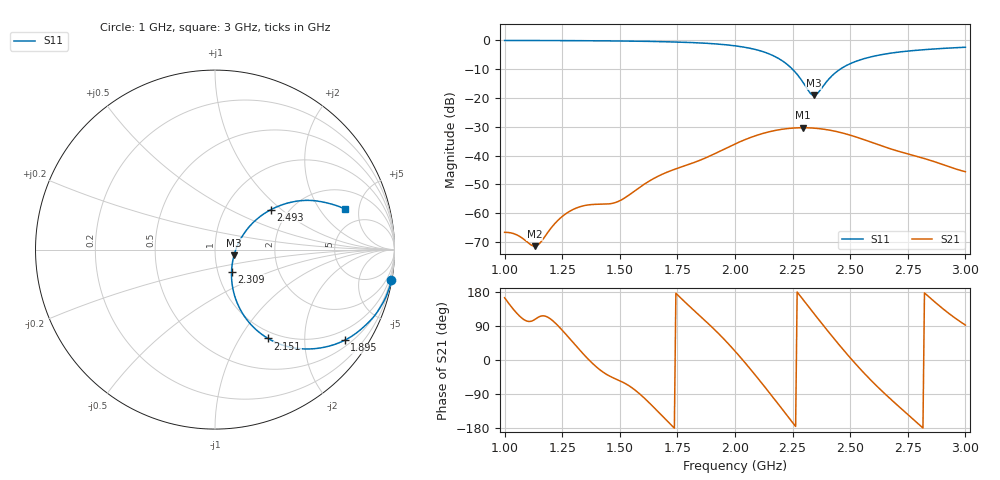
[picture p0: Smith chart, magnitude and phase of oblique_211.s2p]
! TOUCHSTONE file generated by CST MICROWAVE STUDIO
! Date and time: Tue Mar 18 00:03:07 2025
! Project name: oblique.cst
! Parameters = {Tilt=40; Fracture=1; B=12.5; D=160; F=25; Feed=2.85625; L=100; M=30; R=0.384908; S=2; Theta=90; length=57.125; wave=114.25}
! Header version: 2024
! Port assignment regex: !\s*Touchstone port\s*([0-9]+)\s*=\s*(CST MWS port|CST DES external port|CST DES block port)\s*(.+)\s* \(\"(.*)\"\)(\s*mode\s*([0-9]+))?.*
! Touchstone port assignment:
! Touchstone port 1 = CST MWS port 1 ("")
! Touchstone port 2 = CST MWS port 2 ("")
# GHz S DB R 50
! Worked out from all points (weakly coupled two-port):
!   305 points, 1 GHz to 3 GHz, reference 50 ohm
!   highest |S21| = -30.32 dB at 2.296 GHz (marker M1); lowest = -71.4 dB at 1.132 GHz (marker M2)
!   lowest |S11| = -19.1 dB at 2.342 GHz (marker M3), VSWR 1.25, Z = 61.7 - j3.93 ohm
!   |S11| at or under -10 dB: 2.249 GHz to 2.456 GHz (207 MHz wide, 8.8 % of centre)
!   S12 and S22 are empty: the file has one direction only
!   S11 on the Smith chart (normalised r, x): 1 GHz: 0, -12; 1.895 GHz: 0.67, -3.04; 2.151 GHz: 0.90, -1.33; 2.309 GHz: 1.16, -0.29; 2.493 GHz: 1.63, +0.85; 3 GHz: 3.38, +3.58
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1  -0.02 -9.8  -66.64 164.2  -200.00 0.0  -200.00 0.0
1.05263  -0.03 -10.5  -67.51 123.6  -200.00 0.0  -200.00 0.0
1.13158  -0.04 -11.7  -71.44 107.0  -200.00 0.0  -200.00 0.0
1.15132  -0.04 -12.0  -70.54 114.5  -200.00 0.0  -200.00 0.0
1.24342  -0.07 -13.5  -61.58 83.0  -200.00 0.0  -200.00 0.0
1.33553  -0.10 -15.3  -57.56 19.9  -200.00 0.0  -200.00 0.0
1.48684  -0.20 -18.7  -56.12 -51.3  -200.00 0.0  -200.00 0.0
1.67105  -0.42 -24.2  -46.97 -139.4  -200.00 0.0  -200.00 0.0
1.89474  -1.09 -34.9  -39.98 89.9  -200.00 0.0  -200.00 0.0
2  -1.89 -42.9  -35.96 23.5  -200.00 0.0  -200.00 0.0
2.08553  -3.10 -51.4  -33.19 -37.9  -200.00 0.0  -200.00 0.0
2.15132  -4.79 -59.2  -31.67 -88.0  -200.00 0.0  -200.00 0.0
2.23026  -8.59 -67.0  -30.59 -149.6  -200.00 0.0  -200.00 0.0
2.29605  -14.67 -60.0  -30.32 158.8  -200.00 0.0  -200.00 0.0
2.30921  -16.31 -52.9  -30.33 148.5  -200.00 0.0  -200.00 0.0
2.33553  -18.95 -25.7  -30.42 128.1  -200.00 0.0  -200.00 0.0
2.34211  -19.12 -16.5  -30.46 123.0  -200.00 0.0  -200.00 0.0
2.36184  -18.10 8.5  -30.60 107.7  -200.00 0.0  -200.00 0.0
2.42763  -11.79 35.2  -31.43 58.0  -200.00 0.0  -200.00 0.0
2.49342  -8.33 35.5  -32.74 10.4  -200.00 0.0  -200.00 0.0
2.67105  -4.48 27.3  -37.55 -100.7  -200.00 0.0  -200.00 0.0
3  -2.38 17.1  -45.58 92.1  -200.00 0.0  -200.00 0.0
